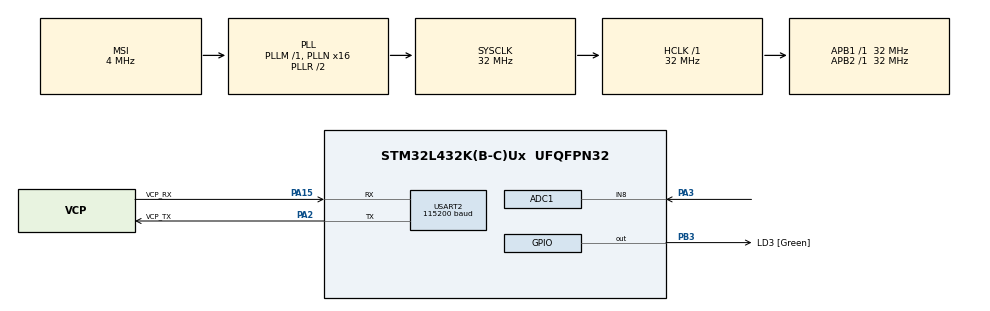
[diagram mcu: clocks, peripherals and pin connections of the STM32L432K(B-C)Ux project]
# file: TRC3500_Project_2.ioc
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ADC1.Channel-1\#ChannelRegularConversion=ADC_CHANNEL_8
ADC1.NbrOfConversionFlag=1
ADC1.OffsetNumber-1\#ChannelRegularConversion=ADC_OFFSET_NONE
ADC1.Rank-1\#ChannelRegularConversion=1
ADC1.SamplingTime-1\#ChannelRegularConversion=ADC_SAMPLETIME_2CYCLES_5
ADC1.master=1
Mcu.Family=STM32L4
Mcu.Name=STM32L432K(B-C)Ux
Mcu.Package=UFQFPN32
NVIC.PriorityGroup=NVIC_PRIORITYGROUP_4
NVIC.TIM6_DAC_IRQn=true\:0\:0\:false\:false\:true\:true\:true\:true
PA0.GPIO_Label=MCO [High speed clock in]
PA0.Mode=HSE-External-Clock-Source-for-LittleOrca
PA0.Signal=RCC_CK_IN
PA13\ (JTMS-SWDIO).GPIO_Label=SWDIO
PA13\ (JTMS-SWDIO).Mode=Serial_Wire
PA13\ (JTMS-SWDIO).Signal=SYS_JTMS-SWDIO
PA14\ (JTCK-SWCLK).GPIO_Label=SWCLK
PA14\ (JTCK-SWCLK).Mode=Serial_Wire
PA14\ (JTCK-SWCLK).Signal=SYS_JTCK-SWCLK
PA15\ (JTDI).GPIO_Label=VCP_RX
PA15\ (JTDI).Mode=Asynchronous
PA15\ (JTDI).Signal=USART2_RX
PA2.GPIO_Label=VCP_TX
PA2.Mode=Asynchronous
PA2.Signal=USART2_TX
PA3.Signal=ADCx_IN8
PB3\ (JTDO-TRACESWO).GPIO_Label=LD3 [Green]
PB3\ (JTDO-TRACESWO).Signal=GPIO_Output
PC14-OSC32_IN\ (PC14).Mode=LSE-External-Oscillator
PC14-OSC32_IN\ (PC14).Signal=RCC_OSC32_IN
PC15-OSC32_OUT\ (PC15).Mode=LSE-External-Oscillator
PC15-OSC32_OUT\ (PC15).Signal=RCC_OSC32_OUT
ProjectManager.HeapSize=0x200
ProjectManager.StackSize=0x400
ProjectManager.TargetToolchain=STM32CubeIDE
RCC.ADCFreq_Value=32000000
RCC.AHBFreq_Value=32000000
RCC.APB1Freq_Value=32000000
RCC.APB1TimFreq_Value=32000000
RCC.APB2Freq_Value=32000000
RCC.APB2TimFreq_Value=32000000
RCC.CortexFreq_Value=32000000
RCC.HCLKFreq_Value=32000000
RCC.HSE_VALUE=8000000
RCC.HSI16_VALUE=16000000
RCC.HSI48_VALUE=48000000
RCC.HSI_VALUE=16000000
RCC.MSI_VALUE=4000000
RCC.PLLMUL=RCC_PLLMUL_4
RCC.PLLN=16
RCC.PLLSAI1N=16
RCC.SYSCLKFreq_VALUE=32000000
RCC.SYSCLKSource=RCC_SYSCLKSOURCE_PLLCLK
RCC.USBFreq_Value=32000000
RCC.VCOOutputFreq_Value=64000000
SH.ADCx_IN8.0=ADC1_IN8,IN8-Single-Ended
TIM6.Period=1000 - 1
TIM6.Prescaler=32 - 1
USART2.BaudRate=115200
USART2.VirtualMode-Asynchronous=VM_ASYNC
VP_TIM6_VS_ClockSourceINT.Mode=Enable_Timer
board=NUCLEO-L432KC

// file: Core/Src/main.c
/* USER CODE BEGIN Header */
/**
  ******************************************************************************
  * @file           : main.c
  * @brief          : Main program body
  ******************************************************************************
  * @attention
  *
  * Copyright (c) 2025 STMicroelectronics.
  * All rights reserved.
  *
  * This software is licensed under terms that can be found in the LICENSE file
  * in the root directory of this software component.
  * If no LICENSE file comes with this software, it is provided AS-IS.
  *
  ******************************************************************************
  */
/* USER CODE END Header */
#include "main.h"

/* USER CODE BEGIN Includes */
#include <string.h>
#include <stdio.h>
#include "math.h"
/* USER CODE END Includes */

/* USER CODE BEGIN PD */
#define SAMPLE_COUNT 500
#define THRESHOLD_VOLTAGE 0.7f
/* USER CODE END PD */

ADC_HandleTypeDef hadc1;

TIM_HandleTypeDef htim6;

UART_HandleTypeDef huart2;

/* USER CODE BEGIN PV */
uint16_t adcBuffer[SAMPLE_COUNT];
float voltageBuffer[SAMPLE_COUNT];
volatile uint16_t sampleIndex = 0;
volatile uint8_t dataReady = 0;

/* USER CODE END PV */

void SystemClock_Config(void);
static void MX_GPIO_Init(void);
static void MX_USART2_UART_Init(void);
static void MX_ADC1_Init(void);
static void MX_TIM6_Init(void);
/* USER CODE BEGIN PFP */
void printResults(float meanVoltage, float estimatedFrequency);
void HAL_TIM_PeriodElapsedCallback(TIM_HandleTypeDef *htim);
float calculateFrequency(float *buffer, uint16_t length, float sampleRate);
float calculateMean(float *buffer, uint16_t length);

/* USER CODE END PFP */

/* USER CODE BEGIN 0 */
float calculateMean(float *buffer, uint16_t length)
{
    float sum = 0.0f;
    for (uint16_t i = 0; i < length; i++)
    {
        sum += buffer[i];
    }
    return sum / (float)length;
}

float calculateFrequency(float *buffer, uint16_t length, float sampleRate)
{
    uint16_t zeroCrossings = 0;
    for (uint16_t i = 1; i < length; i++)
    {
        if ((buffer[i - 1] < 0.0f && buffer[i] >= 0.0f) ||
            (buffer[i - 1] > 0.0f && buffer[i] <= 0.0f))
        {
            zeroCrossings++;
        }
    }

    float frequency = (zeroCrossings * sampleRate) / (2.0f * length);
    return frequency;
}

void HAL_TIM_PeriodElapsedCallback(TIM_HandleTypeDef *htim)
{

    if (htim->Instance == TIM6)
    {
        HAL_ADC_Start(&hadc1);
        HAL_ADC_PollForConversion(&hadc1, HAL_MAX_DELAY);
        uint16_t raw = HAL_ADC_GetValue(&hadc1);
        float voltage = ((float)raw / 4095.0f) * 3.3f;

        if (voltage > THRESHOLD_VOLTAGE)
        {
            if (sampleIndex < SAMPLE_COUNT)
            {
                adcBuffer[sampleIndex] = raw;
                voltageBuffer[sampleIndex] = voltage;
                sampleIndex++;
            }
            else
            {
                dataReady = 1;
                HAL_TIM_Base_Stop_IT(&htim6);
            }
        }
    }
}

void printResults(float meanVoltage, float estimatedFrequency)
{
    char msg[100];
    sprintf(msg, "Drop Detected!\r\nMean Voltage = %.2f V\r\nEstimated Frequency = %.2f Hz\r\nSamples:\r\n",
            meanVoltage, estimatedFrequency);
    HAL_UART_Transmit(&huart2, (uint8_t*)msg, strlen(msg), HAL_MAX_DELAY);

    for (uint16_t i = 0; i < SAMPLE_COUNT; i++)
    {
        char sampleMsg[20];
        sprintf(sampleMsg, "%.2f,", voltageBuffer[i]);
        HAL_UART_Transmit(&huart2, (uint8_t*)sampleMsg, strlen(sampleMsg), HAL_MAX_DELAY);
    }
    HAL_UART_Transmit(&huart2, (uint8_t*)"\r\n\r\n", 4, HAL_MAX_DELAY);
}
/* USER CODE END 0 */

int main(void)
{

  /* MCU Configuration--------------------------------------------------------*/

  /* Reset of all peripherals, Initializes the Flash interface and the Systick. */
  HAL_Init();

  /* Configure the system clock */
  SystemClock_Config();

  /* Initialize all configured peripherals */
  MX_GPIO_Init();
  MX_USART2_UART_Init();
  MX_ADC1_Init();
  MX_TIM6_Init();
  /* USER CODE BEGIN 2 */
  HAL_TIM_Base_Start_IT(&htim6);
  /* USER CODE END 2 */

  /* Infinite loop */
  while (1)
  {

    /* USER CODE BEGIN 3 */
	  if (dataReady)
	      {
	          float meanVoltage = calculateMean(voltageBuffer, SAMPLE_COUNT);
	          float estimatedFrequency = calculateFrequency(voltageBuffer, SAMPLE_COUNT, 1000.0f); // 1000Hz because 1ms sampling
	          printResults(meanVoltage, estimatedFrequency);

	          // Reset the buffers after processing
			  memset(adcBuffer, 0, sizeof(adcBuffer));  // Reset the ADC buffer
			  memset(voltageBuffer, 0, sizeof(voltageBuffer));  // Reset the voltage buffer

	          // Reset for next sampling
	          sampleIndex = 0;
	          dataReady = 0;
	          HAL_TIM_Base_Start_IT(&htim6); // Restart timer interrupt for next capture
	      }
  }
  /* USER CODE END 3 */
}

void SystemClock_Config(void)
{
  RCC_OscInitTypeDef RCC_OscInitStruct = {0};
  RCC_ClkInitTypeDef RCC_ClkInitStruct = {0};

  /** Configure the main internal regulator output voltage
  */
  if (HAL_PWREx_ControlVoltageScaling(PWR_REGULATOR_VOLTAGE_SCALE1) != HAL_OK)
  {
    Error_Handler();
  }

  /** Configure LSE Drive Capability
  */
  HAL_PWR_EnableBkUpAccess();
  __HAL_RCC_LSEDRIVE_CONFIG(RCC_LSEDRIVE_LOW);

  /** Initializes the RCC Oscillators according to the specified parameters
  * in the RCC_OscInitTypeDef structure.
  */
  RCC_OscInitStruct.OscillatorType = RCC_OSCILLATORTYPE_LSE|RCC_OSCILLATORTYPE_MSI;
  RCC_OscInitStruct.LSEState = RCC_LSE_ON;
  RCC_OscInitStruct.MSIState = RCC_MSI_ON;
  RCC_OscInitStruct.MSICalibrationValue = 0;
  RCC_OscInitStruct.MSIClockRange = RCC_MSIRANGE_6;
  RCC_OscInitStruct.PLL.PLLState = RCC_PLL_ON;
  RCC_OscInitStruct.PLL.PLLSource = RCC_PLLSOURCE_MSI;
  RCC_OscInitStruct.PLL.PLLM = 1;
  RCC_OscInitStruct.PLL.PLLN = 16;
  RCC_OscInitStruct.PLL.PLLP = RCC_PLLP_DIV7;
  RCC_OscInitStruct.PLL.PLLQ = RCC_PLLQ_DIV2;
  RCC_OscInitStruct.PLL.PLLR = RCC_PLLR_DIV2;
  if (HAL_RCC_OscConfig(&RCC_OscInitStruct) != HAL_OK)
  {
    Error_Handler();
  }

  /** Initializes the CPU, AHB and APB buses clocks
  */
  RCC_ClkInitStruct.ClockType = RCC_CLOCKTYPE_HCLK|RCC_CLOCKTYPE_SYSCLK
                              |RCC_CLOCKTYPE_PCLK1|RCC_CLOCKTYPE_PCLK2;
  RCC_ClkInitStruct.SYSCLKSource = RCC_SYSCLKSOURCE_PLLCLK;
  RCC_ClkInitStruct.AHBCLKDivider = RCC_SYSCLK_DIV1;
  RCC_ClkInitStruct.APB1CLKDivider = RCC_HCLK_DIV1;
  RCC_ClkInitStruct.APB2CLKDivider = RCC_HCLK_DIV1;

  if (HAL_RCC_ClockConfig(&RCC_ClkInitStruct, FLASH_LATENCY_1) != HAL_OK)
  {
    Error_Handler();
  }

  /** Enable MSI Auto calibration
  */
  HAL_RCCEx_EnableMSIPLLMode();
}

static void MX_ADC1_Init(void)
{

  ADC_ChannelConfTypeDef sConfig = {0};

  /** Common config
  */
  hadc1.Instance = ADC1;
  hadc1.Init.ClockPrescaler = ADC_CLOCK_ASYNC_DIV1;
  hadc1.Init.Resolution = ADC_RESOLUTION_12B;
  hadc1.Init.DataAlign = ADC_DATAALIGN_RIGHT;
  hadc1.Init.ScanConvMode = ADC_SCAN_DISABLE;
  hadc1.Init.EOCSelection = ADC_EOC_SINGLE_CONV;
  hadc1.Init.LowPowerAutoWait = DISABLE;
  hadc1.Init.ContinuousConvMode = DISABLE;
  hadc1.Init.NbrOfConversion = 1;
  hadc1.Init.DiscontinuousConvMode = DISABLE;
  hadc1.Init.ExternalTrigConv = ADC_SOFTWARE_START;
  hadc1.Init.ExternalTrigConvEdge = ADC_EXTERNALTRIGCONVEDGE_NONE;
  hadc1.Init.DMAContinuousRequests = DISABLE;
  hadc1.Init.Overrun = ADC_OVR_DATA_PRESERVED;
  hadc1.Init.OversamplingMode = DISABLE;
  if (HAL_ADC_Init(&hadc1) != HAL_OK)
  {
    Error_Handler();
  }

  /** Configure Regular Channel
  */
  sConfig.Channel = ADC_CHANNEL_8;
  sConfig.Rank = ADC_REGULAR_RANK_1;
  sConfig.SamplingTime = ADC_SAMPLETIME_2CYCLES_5;
  sConfig.SingleDiff = ADC_SINGLE_ENDED;
  sConfig.OffsetNumber = ADC_OFFSET_NONE;
  sConfig.Offset = 0;
  if (HAL_ADC_ConfigChannel(&hadc1, &sConfig) != HAL_OK)
  {
    Error_Handler();
  }

}

static void MX_TIM6_Init(void)
{

  TIM_MasterConfigTypeDef sMasterConfig = {0};

  htim6.Instance = TIM6;
  htim6.Init.Prescaler = 32 - 1;
  htim6.Init.CounterMode = TIM_COUNTERMODE_UP;
  htim6.Init.Period = 1000 - 1;
  htim6.Init.AutoReloadPreload = TIM_AUTORELOAD_PRELOAD_DISABLE;
  if (HAL_TIM_Base_Init(&htim6) != HAL_OK)
  {
    Error_Handler();
  }
  sMasterConfig.MasterOutputTrigger = TIM_TRGO_RESET;
  sMasterConfig.MasterSlaveMode = TIM_MASTERSLAVEMODE_DISABLE;
  if (HAL_TIMEx_MasterConfigSynchronization(&htim6, &sMasterConfig) != HAL_OK)
  {
    Error_Handler();
  }

}

static void MX_USART2_UART_Init(void)
{

  huart2.Instance = USART2;
  huart2.Init.BaudRate = 115200;
  huart2.Init.WordLength = UART_WORDLENGTH_8B;
  huart2.Init.StopBits = UART_STOPBITS_1;
  huart2.Init.Parity = UART_PARITY_NONE;
  huart2.Init.Mode = UART_MODE_TX_RX;
  huart2.Init.HwFlowCtl = UART_HWCONTROL_NONE;
  huart2.Init.OverSampling = UART_OVERSAMPLING_16;
  huart2.Init.OneBitSampling = UART_ONE_BIT_SAMPLE_DISABLE;
  huart2.AdvancedInit.AdvFeatureInit = UART_ADVFEATURE_NO_INIT;
  if (HAL_UART_Init(&huart2) != HAL_OK)
  {
    Error_Handler();
  }

}

static void MX_GPIO_Init(void)
{
  GPIO_InitTypeDef GPIO_InitStruct = {0};

  /* GPIO Ports Clock Enable */
  __HAL_RCC_GPIOC_CLK_ENABLE();
  __HAL_RCC_GPIOA_CLK_ENABLE();
  __HAL_RCC_GPIOB_CLK_ENABLE();

  /*Configure GPIO pin Output Level */
  HAL_GPIO_WritePin(LD3_GPIO_Port, LD3_Pin, GPIO_PIN_RESET);

  /*Configure GPIO pin : LD3_Pin */
  GPIO_InitStruct.Pin = LD3_Pin;
  GPIO_InitStruct.Mode = GPIO_MODE_OUTPUT_PP;
  GPIO_InitStruct.Pull = GPIO_NOPULL;
  GPIO_InitStruct.Speed = GPIO_SPEED_FREQ_LOW;
  HAL_GPIO_Init(LD3_GPIO_Port, &GPIO_InitStruct);

}

void Error_Handler(void)
{
  __disable_irq();
  while (1)
  {
  }
}
